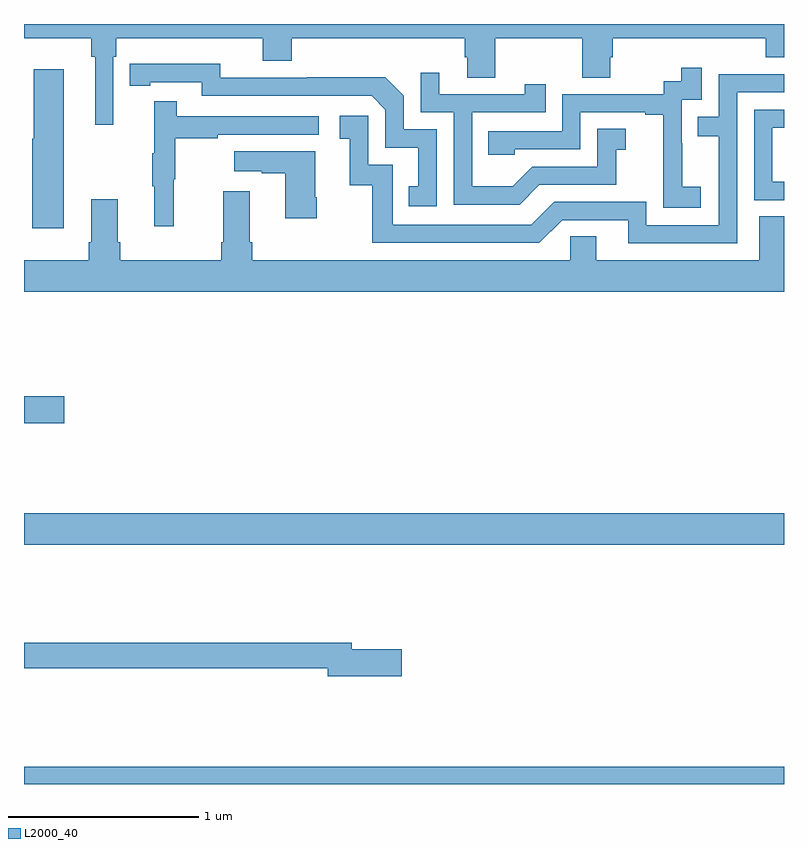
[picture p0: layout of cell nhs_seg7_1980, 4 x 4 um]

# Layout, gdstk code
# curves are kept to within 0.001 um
import gdstk
lib = gdstk.Library(unit=1e-6, precision=1e-09)
def R(c, l, rs):  # rectangles x0, y0, x1, y1
    for r in rs: c.add(gdstk.rectangle(r[:2], r[2:], *l))
def P(c, l, *ps):  # polygons
    for p in ps: c.add(gdstk.Polygon(p, *l))
L2000_40 = (2000, 40)

nhs_seg7_1980 = lib.new_cell('nhs_seg7_1980')
R(nhs_seg7_1980, L2000_40, [(243,1022,247,1022.092), (243,1023.26,247,1023.424), (243,1023.898,243.211,1024.04)])
P(nhs_seg7_1980, L2000_40, [(243.471,1025.828),(243.485,1025.828),(243.485,1025.924),(244.256,1025.924),(244.256,1025.807),(244.409,1025.807),(244.409,1025.924),(245.321,1025.924),(245.321,1025.826),(245.333,1025.826),(245.333,1025.716),(245.481,1025.716),(245.481,1025.924),(245.938,1025.924),(245.938,1025.716),(246.085,1025.716),(246.085,1025.826),(246.098,1025.826),(246.098,1025.924),(246.905,1025.924),(246.905,1025.825),(247,1025.825),(247,1026),(243,1026),(243,1025.924),(243.355,1025.924),(243.355,1025.828),(243.374,1025.828),(243.374,1025.469),(243.471,1025.469)],
  [(245.172,1025.445),(244.998,1025.445),(244.998,1025.622),(244.9,1025.72),(244.492,1025.72),(244.492,1025.718),(244.032,1025.718),(244.032,1025.791),(243.556,1025.79),(243.556,1025.674),(243.664,1025.674),(243.664,1025.694),(243.936,1025.694),(243.936,1025.622),(244.83,1025.622),(244.902,1025.55),(244.902,1025.349),(245.075,1025.349),(245.075,1025.145),(245.026,1025.145),(245.026,1025.04),(245.172,1025.04)],
  [(246.562,1025.143),(246.464,1025.143),(246.464,1025.372),(246.462,1025.372),(246.462,1025.601),(246.567,1025.601),(246.567,1025.77),(246.459,1025.77),(246.459,1025.7),(246.366,1025.7),(246.366,1025.631),(245.832,1025.631),(245.832,1025.436),(245.443,1025.436),(245.443,1025.313),(245.583,1025.313),(245.583,1025.34),(245.928,1025.34),(245.928,1025.535),(246.269,1025.535),(246.269,1025.523),(246.365,1025.523),(246.365,1025.239),(246.364,1025.239),(246.364,1025.033),(246.562,1025.033)],
  [(243.208,1025.761),(243.05,1025.761),(243.05,1025.397),(243.044,1025.397),(243.044,1024.926),(243.208,1024.926)],
  [(245.713,1025.154),(246.117,1025.154),(246.117,1025.339),(246.166,1025.339),(246.166,1025.449),(246.018,1025.449),(246.018,1025.25),(245.676,1025.25),(245.572,1025.146),(245.358,1025.146),(245.358,1025.535),(245.747,1025.535),(245.747,1025.683),(245.636,1025.683),(245.636,1025.631),(245.185,1025.631),(245.185,1025.743),(245.088,1025.743),(245.088,1025.535),(245.262,1025.535),(245.262,1025.049),(245.608,1025.049)],
  [(246.753,1025.64),(247,1025.64),(247,1025.736),(246.657,1025.736),(246.657,1025.511),(246.547,1025.511),(246.547,1025.41),(246.657,1025.41),(246.657,1024.941),(246.276,1024.941),(246.276,1025.064),(245.79,1025.064),(245.67,1024.944),(244.941,1024.944),(244.941,1025.259),(244.812,1025.259),(244.812,1025.518),(244.662,1025.518),(244.662,1025.397),(244.715,1025.397),(244.715,1025.151),(244.833,1025.151),(244.833,1024.848),(245.712,1024.848),(245.832,1024.968),(246.179,1024.968),(246.179,1024.845),(246.753,1024.845)],
  [(243.788,1025.184),(243.796,1025.184),(243.796,1025.398),(244.019,1025.398),(244.019,1025.418),(244.552,1025.418),(244.552,1025.514),(243.803,1025.514),(243.803,1025.593),(243.686,1025.593),(243.686,1025.321),(243.675,1025.321),(243.675,1025.147),(243.686,1025.147),(243.686,1024.935),(243.788,1024.935)],
  [(247,1025.169),(246.939,1025.169),(246.939,1025.454),(247,1025.454),(247,1025.55),(246.843,1025.55),(246.843,1025.073),(247,1025.073)],
  [(244.542,1025.089),(244.534,1025.089),(244.534,1025.329),(244.107,1025.329),(244.107,1025.225),(244.25,1025.225),(244.25,1025.215),(244.376,1025.215),(244.376,1024.977),(244.542,1024.977)],
  [(243.493,1024.852),(243.493,1025.077),(243.353,1025.077),(243.353,1024.852),(243.341,1024.852),(243.341,1024.756),(243,1024.756),(243,1024.592),(247,1024.592),(247,1024.988),(246.869,1024.988),(246.869,1024.756),(246.013,1024.756),(246.013,1024.883),(245.874,1024.883),(245.874,1024.756),(244.202,1024.756),(244.202,1024.852),(244.189,1024.852),(244.189,1025.119),(244.049,1025.119),(244.049,1024.852),(244.037,1024.852),(244.037,1024.756),(243.506,1024.756),(243.506,1024.852)],
  [(244.987,1022.708),(244.726,1022.708),(244.726,1022.744),(243,1022.744),(243,1022.608),(244.598,1022.608),(244.598,1022.566),(244.987,1022.566)])

lib.write_gds('nhs_seg7_1980.gds')
